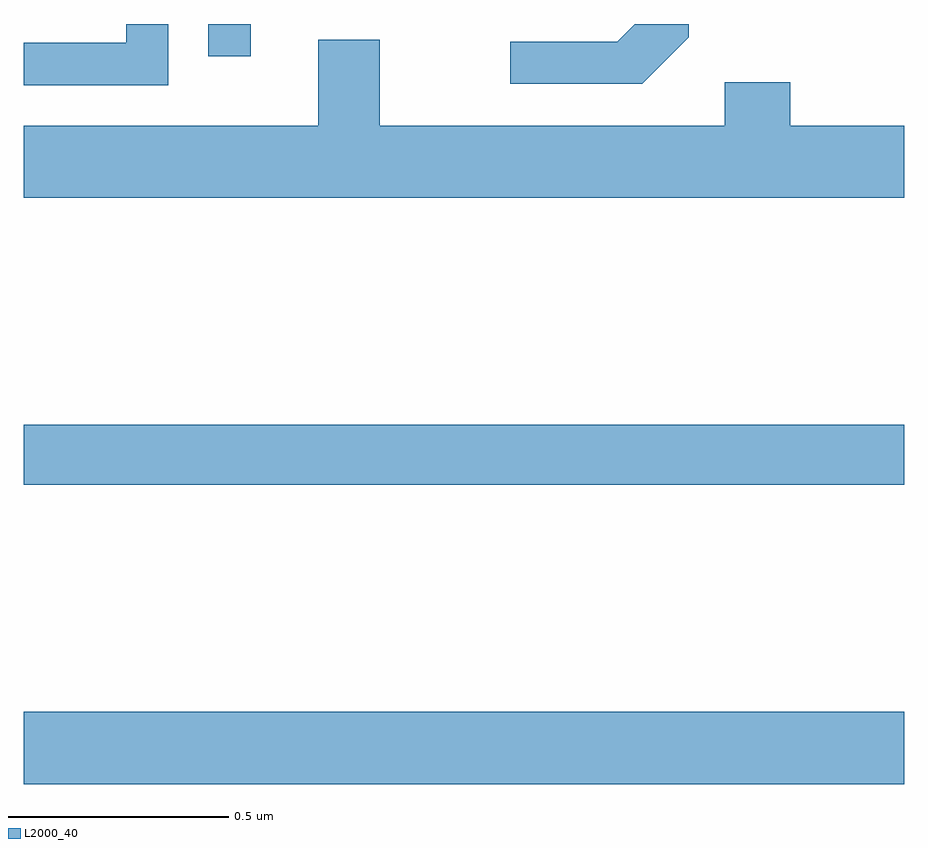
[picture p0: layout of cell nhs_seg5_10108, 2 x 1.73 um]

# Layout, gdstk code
import gdstk
lib = gdstk.Library(unit=1e-6, precision=1e-09)
def R(c, l, rs):  # rectangles x0, y0, x1, y1
    for r in rs: c.add(gdstk.rectangle(r[:2], r[2:], *l))
def P(c, l, *ps):  # polygons
    for p in ps: c.add(gdstk.Polygon(p, *l))
L2000_40 = (2000, 40)

nhs_seg5_10108 = lib.new_cell('nhs_seg5_10108')
R(nhs_seg5_10108, L2000_40, [(242,878.072,244,878.236), (242,878.752,244,878.888), (242.419,879.726,242.515,879.799)])
P(nhs_seg5_10108, L2000_40, [(242.328,879.799),(242.232,879.799),(242.232,879.756),(242,879.756),(242,879.66),(242.328,879.66)],
  [(243.511,879.769),(243.511,879.799),(243.388,879.799),(243.348,879.759),(243.105,879.759),(243.105,879.663),(243.405,879.663)],
  [(244,879.568),(243.741,879.568),(243.741,879.667),(243.593,879.667),(243.593,879.568),(242.809,879.568),(242.809,879.763),(242.669,879.763),(242.669,879.568),(242,879.568),(242,879.404),(244,879.404)])

lib.write_gds('nhs_seg5_10108.gds')
